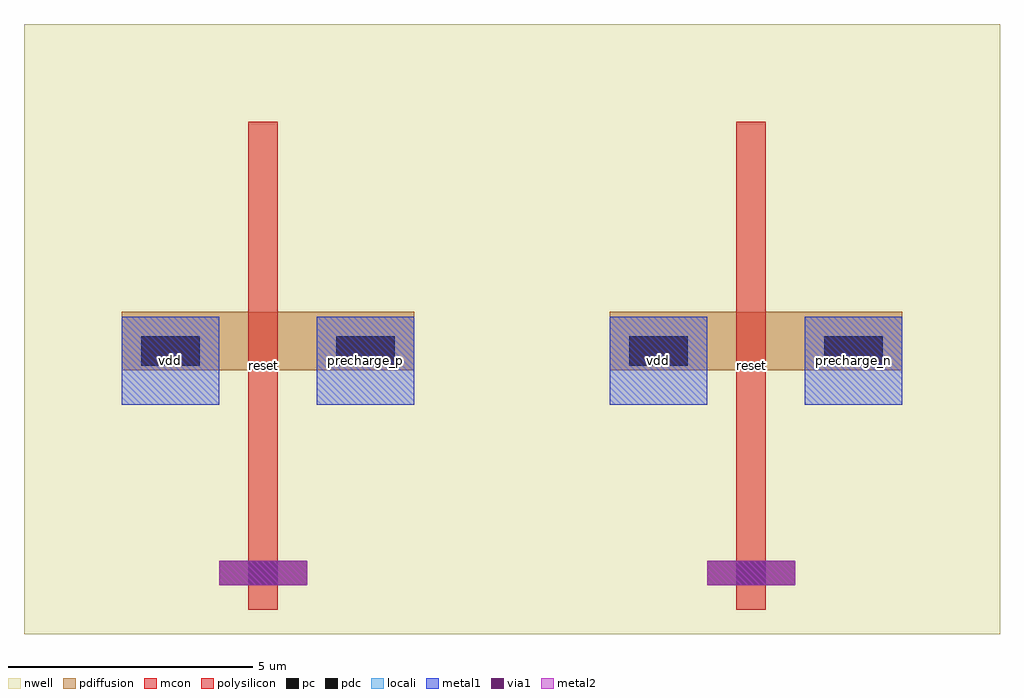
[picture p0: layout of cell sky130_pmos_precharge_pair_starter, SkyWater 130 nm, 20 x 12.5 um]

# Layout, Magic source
magic
tech sky130A
<< nwell >>
rect 200 150 2200 1400
<< pdiffusion >>
rect 400 690 1000 810
rect 1400 690 2000 810
<< polysilicon >>
rect 660 200 720 1200
rect 1660 200 1720 1200
<< pc >>
rect 660 250 720 300
rect 1660 250 1720 300
<< pdc >>
rect 440 700 560 760
rect 840 700 960 760
rect 1440 700 1560 760
rect 1840 700 1960 760
<< mcon >>
rect 440 700 560 760
rect 840 700 960 760
rect 1440 700 1560 760
rect 1840 700 1960 760
rect 660 250 720 300
rect 1660 250 1720 300
<< locali >>
rect 660 250 720 300
rect 1660 250 1720 300
<< metal1 >>
rect 400 620 600 800
rect 800 620 1000 800
rect 1400 620 1600 800
rect 1800 620 2000 800
rect 660 250 720 300
rect 1660 250 1720 300
rect 400 620 600 680
rect 1400 620 1600 680
<< metal2 >>
rect 600 250 780 300
rect 1600 250 1780 300
<< via1 >>
rect 600 250 780 300
rect 1600 250 1780 300
<< labels >>
rlabel metal1 400 620 600 800 0 vdd
port 1 nsew
rlabel metal1 800 620 1000 800 0 precharge_p
port 2 nsew
rlabel metal1 1400 620 1600 800 0 vdd
port 3 nsew
rlabel metal1 1800 620 2000 800 0 precharge_n
port 4 nsew
rlabel polysilicon 660 200 720 1200 0 reset
port 5 nsew
rlabel polysilicon 1660 200 1720 1200 0 reset
port 6 nsew
<< end >>
